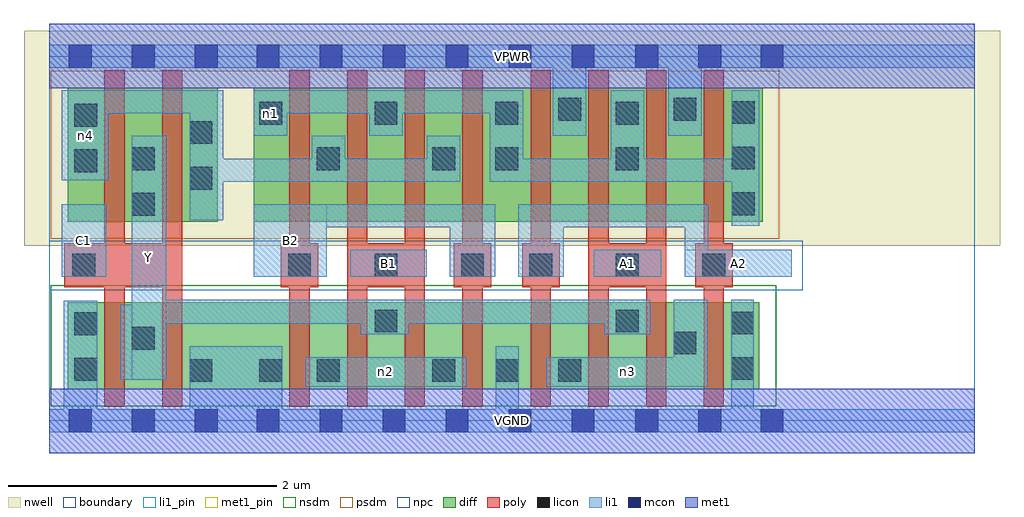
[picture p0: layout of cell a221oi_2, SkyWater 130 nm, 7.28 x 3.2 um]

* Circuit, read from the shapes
.subckt a221oi_2 A1 A2 B1 B2 C1 VGND VPWR Y n1 n2 n3 n4
XM1 Y C1 VGND VSUBS sky130_fd_pr__nfet_01v8 w=0.65 l=0.15 m=2
XM2 n2 B2 VGND VSUBS sky130_fd_pr__nfet_01v8 w=0.65 l=0.15 m=2
XM3 Y B1 n2 VSUBS sky130_fd_pr__nfet_01v8 w=0.65 l=0.15 m=2
XM4 n3 A2 VGND VSUBS sky130_fd_pr__nfet_01v8 w=0.65 l=0.15 m=2
XM5 Y A1 n3 VSUBS sky130_fd_pr__nfet_01v8 w=0.65 l=0.15 m=2
XM6 Y C1 n4 n5 sky130_fd_pr__pfet_01v8 w=1 l=0.15 m=2
XM7 n4 B2 n1 n5 sky130_fd_pr__pfet_01v8 w=1 l=0.15 m=2
XM8 n1 B1 n4 n5 sky130_fd_pr__pfet_01v8 w=1 l=0.15 m=2
XM9 VPWR A2 n1 n5 sky130_fd_pr__pfet_01v8 w=1 l=0.15 m=2
XM10 n1 A1 VPWR n5 sky130_fd_pr__pfet_01v8 w=1 l=0.15 m=2
.ends

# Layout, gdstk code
import gdstk
lib = gdstk.Library(unit=1e-6, precision=1e-09)
def R(c, l, rs):  # rectangles x0, y0, x1, y1
    for r in rs: c.add(gdstk.rectangle(r[:2], r[2:], *l))
def A(c, l, x, y, w, h, nx, ny, dx, dy):  # array of equal rectangles
    R(c, l, [(x+i*dx, y+j*dy, x+i*dx+w, y+j*dy+h) for i in range(nx) for j in range(ny)])
nwell = (64, 20)
diff = (65, 20)
poly = (66, 20)
licon = (66, 44)
li1_pin = (67, 16)
li1 = (67, 20)
mcon = (67, 44)
met1_pin = (68, 16)
met1 = (68, 20)
nsdm = (93, 44)
psdm = (94, 20)
npc = (95, 20)
boundary = (235, 4)

a221oi_2 = lib.new_cell('a221oi_2')
R(a221oi_2, nwell, [(-0.19,1.305,7.09,2.91), (0,1.305,6.9,2.91)])
R(a221oi_2, diff, [(0.135,0.235,5.295,0.885), (0.135,1.485,1.255,2.485), (1.525,1.485,5.32,2.485)])
A(a221oi_2, poly, 1.79, 0.105, 0.15, 2.51, 4, 1, 0.43, 0)
A(a221oi_2, poly, 3.59, 0.105, 0.15, 2.51, 4, 1, 0.43, 0)
R(a221oi_2, poly, [(0.41,0.105,0.56,2.615), (0.84,0.105,0.99,2.615), (0.11,0.995,0.99,1.325), (1.725,0.995,2.005,1.325), (2.22,0.995,2.8,1.325), (3.015,0.995,3.295,1.325), (3.525,0.995,3.805,1.325), (4.02,0.995,4.6,1.325), (4.815,0.995,5.095,1.325)])
A(a221oi_2, licon, 1.78, 1.075, 0.17, 0.17, 3, 1, 0.645, 0)
A(a221oi_2, licon, 3.58, 1.075, 0.17, 0.17, 3, 1, 0.645, 0)
A(a221oi_2, licon, 5.09, 1.535, 0.17, 0.17, 1, 3, 0, 0.34)
A(a221oi_2, licon, 2.425, 2.21, 0.17, 0.17, 3, 1, 0.9, 0)
R(a221oi_2, licon, [(1.045,0.29,1.215,0.46), (1.565,0.29,1.735,0.46), (1.995,0.29,2.165,0.46), (2.855,0.29,3.025,0.46), (3.33,0.29,3.5,0.46), (3.795,0.29,3.965,0.46), (0.185,0.3,0.355,0.47), (5.085,0.305,5.255,0.475), (4.655,0.495,4.825,0.665), (0.615,0.53,0.785,0.7), (0.185,0.64,0.355,0.81), (5.085,0.645,5.255,0.815), (2.425,0.66,2.595,0.83), (4.225,0.66,4.395,0.83), (0.17,1.075,0.34,1.245), (0.615,1.53,0.785,1.7), (1.045,1.725,1.215,1.895), (0.185,1.855,0.355,2.025), (0.615,1.87,0.785,2.04), (1.995,1.87,2.165,2.04), (2.855,1.87,3.025,2.04), (3.325,1.87,3.495,2.04), (4.225,1.87,4.395,2.04), (1.045,2.065,1.215,2.235), (0.185,2.195,0.355,2.365), (1.565,2.21,1.735,2.38), (3.795,2.24,3.965,2.41), (4.655,2.24,4.825,2.41)])
R(a221oi_2, li1_pin, [(0.615,0.305,0.87,2.125), (0.09,1.075,0.425,1.615), (1.525,1.075,2.07,1.615), (2.245,1.075,2.815,1.275), (4.06,1.075,4.565,1.275), (4.74,1.075,5.535,1.275)])
R(a221oi_2, li1, [(0,-0.085,6.9,0.085), (0.105,-0.085,0.355,0.895), (1.045,-0.085,1.735,0.555), (3.33,-0.085,3.5,0.555), (5.085,-0.085,5.255,0.905), (1.91,0.255,3.11,0.475), (3.71,0.255,4.91,0.475), (4.655,0.255,4.91,0.905), (0.53,0.305,0.87,0.865), (0.615,0.305,0.87,2.125), (2.32,0.645,2.68,0.905), (4.14,0.645,4.48,0.905), (0.615,0.725,4.48,0.905), (0.09,1.075,0.425,1.615), (1.525,1.075,2.07,1.615), (2.245,1.075,2.815,1.275), (2.985,1.075,3.325,1.615), (3.495,1.075,3.835,1.615), (4.06,1.075,4.565,1.275), (4.74,1.075,5.535,1.275), (4.74,1.075,4.915,1.615), (1.525,1.445,3.325,1.615), (3.495,1.445,4.915,1.615), (5.09,1.455,5.295,2.465), (1.045,1.495,1.295,2.465), (1.045,1.785,3.065,1.955), (1.955,1.785,2.205,2.125), (2.815,1.785,3.065,2.125), (3.285,1.785,5.295,1.955), (3.285,1.785,3.535,2.465), (4.185,1.785,4.435,2.465), (0.09,1.795,0.44,2.465), (1.525,2.125,1.775,2.465), (2.385,2.125,2.635,2.465), (3.755,2.125,4.005,2.805), (4.615,2.125,4.865,2.805), (0.09,2.295,1.295,2.465), (1.525,2.295,3.535,2.465), (0,2.635,6.9,2.805)])
A(a221oi_2, mcon, 0.145, -0.085, 0.17, 0.17, 3, 2, 0.47, 2.72)
A(a221oi_2, mcon, 1.545, -0.085, 0.17, 0.17, 6, 2, 0.47, 2.72)
R(a221oi_2, mcon, [(4.37,-0.085,4.54,0.085), (4.84,-0.085,5.01,0.085), (5.305,-0.085,5.475,0.085), (4.37,2.635,4.54,2.805), (4.84,2.635,5.01,2.805), (5.305,2.635,5.475,2.805)])
R(a221oi_2, met1_pin, [(0,-0.24,6.9,0.24), (0,2.48,6.9,2.96)])
R(a221oi_2, met1, [(0,-0.24,6.9,0.24), (0,2.48,6.9,2.96)])
R(a221oi_2, nsdm, [(0.01,0.11,5.42,1.01)])
R(a221oi_2, psdm, [(0.01,1.36,5.445,2.61)])
R(a221oi_2, npc, [(0,0.975,5.62,1.345)])
R(a221oi_2, boundary, [(0,0,6.9,2.72)])
a221oi_2.add(gdstk.Label('A1', (4.312,1.175), layer=67, texttype=5))
a221oi_2.add(gdstk.Label('A2', (5.137,1.175), layer=67, texttype=5))
a221oi_2.add(gdstk.Label('B1', (2.53,1.175), layer=67, texttype=5))
a221oi_2.add(gdstk.Label('B2', (1.797,1.345), layer=67, texttype=5))
a221oi_2.add(gdstk.Label('C1', (0.257,1.345), layer=67, texttype=5))
a221oi_2.add(gdstk.Label('Y', (0.742,1.215), layer=67, texttype=5))
a221oi_2.add(gdstk.Label('n2', (2.51,0.365), layer=67, texttype=5))
a221oi_2.add(gdstk.Label('n3', (4.31,0.365), layer=67, texttype=5))
a221oi_2.add(gdstk.Label('n4', (0.265,2.13), layer=67, texttype=5))
a221oi_2.add(gdstk.Label('n1', (1.65,2.295), layer=67, texttype=5))
a221oi_2.add(gdstk.Label('VPWR', (3.45,2.72), layer=68, texttype=5))
a221oi_2.add(gdstk.Label('VGND', (3.45,0), layer=68, texttype=5))
a221oi_2.add(gdstk.Label('A1', (4.312,1.175), layer=67, texttype=16))
a221oi_2.add(gdstk.Label('A2', (5.137,1.175), layer=67, texttype=16))
a221oi_2.add(gdstk.Label('B1', (2.53,1.175), layer=67, texttype=16))
a221oi_2.add(gdstk.Label('B2', (1.797,1.345), layer=67, texttype=16))
a221oi_2.add(gdstk.Label('C1', (0.257,1.345), layer=67, texttype=16))
a221oi_2.add(gdstk.Label('Y', (0.742,1.215), layer=67, texttype=16))
a221oi_2.add(gdstk.Label('VPWR', (3.45,2.72), layer=68, texttype=16))
a221oi_2.add(gdstk.Label('VGND', (3.45,0), layer=68, texttype=16))

lib.write_gds('a221oi_2.gds')
